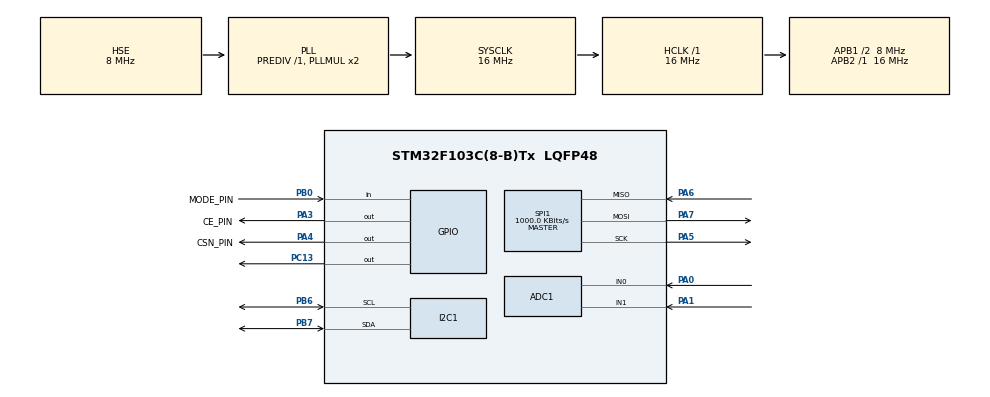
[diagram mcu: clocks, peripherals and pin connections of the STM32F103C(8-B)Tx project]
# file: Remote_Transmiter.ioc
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ADC1.Channel-0\#ChannelRegularConversion=ADC_CHANNEL_0
ADC1.Channel-1\#ChannelRegularConversion=ADC_CHANNEL_1
ADC1.ContinuousConvMode=ENABLE
ADC1.NbrOfConversion=2
ADC1.NbrOfConversionFlag=1
ADC1.Rank-0\#ChannelRegularConversion=1
ADC1.Rank-1\#ChannelRegularConversion=2
ADC1.SamplingTime-0\#ChannelRegularConversion=ADC_SAMPLETIME_41CYCLES_5
ADC1.SamplingTime-1\#ChannelRegularConversion=ADC_SAMPLETIME_41CYCLES_5
ADC1.master=1
Mcu.Family=STM32F1
Mcu.Name=STM32F103C(8-B)Tx
Mcu.Package=LQFP48
NVIC.PriorityGroup=NVIC_PRIORITYGROUP_4
PA0-WKUP.Signal=ADCx_IN0
PA1.Signal=ADCx_IN1
PA13.Mode=Serial_Wire
PA13.Signal=SYS_JTMS-SWDIO
PA14.Mode=Serial_Wire
PA14.Signal=SYS_JTCK-SWCLK
PA3.GPIO_Label=CE_PIN
PA3.Signal=GPIO_Output
PA4.GPIO_Label=CSN_PIN
PA4.Signal=GPIO_Output
PA5.Mode=Full_Duplex_Master
PA5.Signal=SPI1_SCK
PA6.Mode=Full_Duplex_Master
PA6.Signal=SPI1_MISO
PA7.Mode=Full_Duplex_Master
PA7.Signal=SPI1_MOSI
PB0.GPIO_Label=MODE_PIN
PB0.GPIO_PuPd=GPIO_PULLUP
PB0.Signal=GPIO_Input
PB6.Mode=I2C
PB6.Signal=I2C1_SCL
PB7.Mode=I2C
PB7.Signal=I2C1_SDA
PC13-TAMPER-RTC.Signal=GPIO_Output
PD0-OSC_IN.Mode=HSE-External-Oscillator
PD0-OSC_IN.Signal=RCC_OSC_IN
PD1-OSC_OUT.Mode=HSE-External-Oscillator
PD1-OSC_OUT.Signal=RCC_OSC_OUT
ProjectManager.HeapSize=0x200
ProjectManager.StackSize=0x400
ProjectManager.TargetToolchain=MDK-ARM V5.32
RCC.AHBFreq_Value=16000000
RCC.APB1CLKDivider=RCC_HCLK_DIV2
RCC.APB1Freq_Value=8000000
RCC.APB1TimFreq_Value=16000000
RCC.APB2Freq_Value=16000000
RCC.APB2TimFreq_Value=16000000
RCC.HCLKFreq_Value=16000000
RCC.PLLSourceVirtual=RCC_PLLSOURCE_HSE
RCC.SYSCLKFreq_VALUE=16000000
RCC.SYSCLKSource=RCC_SYSCLKSOURCE_PLLCLK
RCC.USBFreq_Value=16000000
SH.ADCx_IN0.0=ADC1_IN0,IN0
SH.ADCx_IN1.0=ADC1_IN1,IN1
SPI1.BaudRatePrescaler=SPI_BAUDRATEPRESCALER_16
SPI1.CalculateBaudRate=1000.0 KBits/s
SPI1.Direction=SPI_DIRECTION_2LINES
SPI1.Mode=SPI_MODE_MASTER
SPI1.VirtualType=VM_MASTER
board=custom

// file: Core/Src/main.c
/* USER CODE BEGIN Header */
/**
  ******************************************************************************
  * @file           : main.c
  * @brief          : Main program body
  ******************************************************************************
  * @attention
  *
  * Copyright (c) 2023 STMicroelectronics.
  * All rights reserved.
  *
  * This software is licensed under terms that can be found in the LICENSE file
  * in the root directory of this software component.
  * If no LICENSE file comes with this software, it is provided AS-IS.
  *
  ******************************************************************************
  */
/* USER CODE END Header */
#include "main.h"

/* USER CODE BEGIN Includes */
#include "CLCD_I2C.h"
#include "NRF24L01.h"
#include "string.h"
/* USER CODE END Includes */

/* USER CODE BEGIN PD */
#define MAX_LENGTH_DATA 7
/* USER CODE END PD */

ADC_HandleTypeDef hadc1;

I2C_HandleTypeDef hi2c1;

SPI_HandleTypeDef hspi1;

/* USER CODE BEGIN PV */
uint32_t VR[2];

CLCD_I2C_Name Lcd16x2;

uint8_t TX_Address[] = {0xEE, 0xDD, 0xCC, 0xBB, 0xAA};

uint8_t TX_Data[MAX_LENGTH_DATA];

uint8_t Mode = 0;

/* USER CODE END PV */

void SystemClock_Config(void);
static void MX_GPIO_Init(void);
static void MX_SPI1_Init(void);
static void MX_ADC1_Init(void);
static void MX_I2C1_Init(void);

/* USER CODE BEGIN 0 */

// =========================== FOR SET UP ADC =============================

void ADC_Select_Channel_0(void)
{
	ADC_ChannelConfTypeDef sConfig = {0};

  sConfig.Channel = ADC_CHANNEL_0;
  sConfig.Rank = ADC_REGULAR_RANK_1;
  sConfig.SamplingTime = ADC_SAMPLETIME_41CYCLES_5;
  if (HAL_ADC_ConfigChannel(&hadc1, &sConfig) != HAL_OK)
  {
    Error_Handler();
  }
}

void ADC_Select_Channel_1(void)
{
	ADC_ChannelConfTypeDef sConfig = {0};

	sConfig.Channel = ADC_CHANNEL_1;
  sConfig.Rank = ADC_REGULAR_RANK_1;
  if (HAL_ADC_ConfigChannel(&hadc1, &sConfig) != HAL_OK)
  {
    Error_Handler();
  }
}
// ====================== FOR PRINTING VALUES =============================

void PrintStateToLCD(char state)
{
	CLCD_I2C_SetCursor(&Lcd16x2, 0, 1);
	CLCD_I2C_WriteString(&Lcd16x2, "     ");
	CLCD_I2C_SetCursor(&Lcd16x2, 0, 1);

	if (state == 'L') CLCD_I2C_WriteString(&Lcd16x2, "LEFT");
	else if (state == 'R') CLCD_I2C_WriteString(&Lcd16x2, "RIGHT");
	else if (state == 'U') CLCD_I2C_WriteString(&Lcd16x2, "UP");
	else if (state == 'B') CLCD_I2C_WriteString(&Lcd16x2, "BACK");
}

// ===================== FOR READING JOYSTICK =============================

void SendModeCommand(uint8_t * command)
{
	memset(TX_Data, 0, MAX_LENGTH_DATA);
	strcpy(TX_Data, command);
	if (NRF24_Transmit(TX_Data) == 1)
	{
		HAL_GPIO_TogglePin(GPIOC, GPIO_PIN_13);
	}
}

void ReadJoyStick()
{
		ADC_Select_Channel_0();
		HAL_ADC_Start(&hadc1);
		HAL_ADC_PollForConversion(&hadc1, 1);
		VR[0] = HAL_ADC_GetValue(&hadc1);
		HAL_ADC_Stop(&hadc1);

		ADC_Select_Channel_1();
		HAL_ADC_Start(&hadc1);
		HAL_ADC_PollForConversion(&hadc1, 1);
		VR[1] = HAL_ADC_GetValue(&hadc1);
		HAL_ADC_Stop(&hadc1);
}

void ReadButtonJoyStick()
{
	if (HAL_GPIO_ReadPin(GPIOB, MODE_PIN_Pin) == 0)
	{
		HAL_Delay(10);
		if (HAL_GPIO_ReadPin(GPIOB, MODE_PIN_Pin) == 0)
		{
			Mode = (Mode + 1) % 2;
			Mode == 1 ? SendModeCommand("M1") : SendModeCommand("M0");
			while (HAL_GPIO_ReadPin(GPIOB, MODE_PIN_Pin) == 0) {HAL_Delay(10);}
		}
	}
}

//===================== FOR HANDLING ADC VALUES =============================

void ConvertADCValue(char *command, uint32_t ADCValue)
{
	TX_Data[0] = command[0];
	TX_Data[1] = command[1];

	TX_Data[2] = ADCValue / 1000 + 0x30;
	TX_Data[3] = ADCValue % 1000 / 100 + 0x30;
	TX_Data[4] = ADCValue % 100 / 10 + 0x30;
	TX_Data[5] = ADCValue % 10 + 0x30;
	TX_Data[6] = '\0';
}

void SendADCValueToReceiver()
{
	if (NRF24_Transmit(TX_Data) == 1)
	{
		HAL_GPIO_TogglePin(GPIOC, GPIO_PIN_13);
	}
}

void HandleADCValues()
{
	if (VR[0] > 2500 || VR[0] < 1500) // X axis
	{
		if (VR[0] > 2500)
		{
			ConvertADCValue("U0", VR[0]);
			SendADCValueToReceiver();
			PrintStateToLCD(TX_Data[0]);
		}
		else
		{
			ConvertADCValue("B0", VR[0]);
			SendADCValueToReceiver();
			PrintStateToLCD(TX_Data[0]);
		}
	}
	if (VR[1] > 2500 || VR[1] < 1500) // Y axis
	{
		if (VR[1] > 2500)
		{
			ConvertADCValue("R0", VR[1]);
			SendADCValueToReceiver();
			PrintStateToLCD(TX_Data[0]);
		}
		else
		{
			ConvertADCValue("L0", VR[1]);
			SendADCValueToReceiver();
			PrintStateToLCD(TX_Data[0]);
		}
	}
}

// ========================= FOR MODE OPERATIONS ============================

void RemoteMode0()
{
	while (Mode == 0)
	{
		ReadButtonJoyStick();
		ReadJoyStick();
		HandleADCValues();
		HAL_Delay(60);
	}
}

void RemoteMode1()
{
	while (Mode == 1)
	{
		ReadButtonJoyStick();
		HAL_Delay(60);
	}
}

// ============================ MAIN MONITOR ================================

void mainMonitor()
{
	if (Mode == 0)
	{
		CLCD_I2C_Clear(&Lcd16x2);
		CLCD_I2C_WriteString(&Lcd16x2, "Mode 0:Joystick");
		RemoteMode0();
	}
	else
	{
		CLCD_I2C_Clear(&Lcd16x2);
		CLCD_I2C_WriteString(&Lcd16x2, "Mode 1:Auto Run");
		RemoteMode1();
	}
}

/* USER CODE END 0 */

int main(void)
{

  /* MCU Configuration--------------------------------------------------------*/

  /* Reset of all peripherals, Initializes the Flash interface and the Systick. */
  HAL_Init();

  /* Configure the system clock */
  SystemClock_Config();

  /* Initialize all configured peripherals */
  MX_GPIO_Init();
  MX_SPI1_Init();
  MX_ADC1_Init();
  MX_I2C1_Init();
  /* USER CODE BEGIN 2 */
	NRF24_Init();
	NRF24_TxMode(TX_Address, 10);
	CLCD_I2C_Init(&Lcd16x2, &hi2c1, 0x4e, 16, 2);
  /* USER CODE END 2 */

  /* Infinite loop */
  /* USER CODE BEGIN WHILE */
  while (1)
  {
		mainMonitor();
    /* USER CODE END WHILE */

  }
}

void SystemClock_Config(void)
{
  RCC_OscInitTypeDef RCC_OscInitStruct = {0};
  RCC_ClkInitTypeDef RCC_ClkInitStruct = {0};
  RCC_PeriphCLKInitTypeDef PeriphClkInit = {0};

  /** Initializes the RCC Oscillators according to the specified parameters
  * in the RCC_OscInitTypeDef structure.
  */
  RCC_OscInitStruct.OscillatorType = RCC_OSCILLATORTYPE_HSE;
  RCC_OscInitStruct.HSEState = RCC_HSE_ON;
  RCC_OscInitStruct.HSEPredivValue = RCC_HSE_PREDIV_DIV1;
  RCC_OscInitStruct.HSIState = RCC_HSI_ON;
  RCC_OscInitStruct.PLL.PLLState = RCC_PLL_ON;
  RCC_OscInitStruct.PLL.PLLSource = RCC_PLLSOURCE_HSE;
  RCC_OscInitStruct.PLL.PLLMUL = RCC_PLL_MUL2;
  if (HAL_RCC_OscConfig(&RCC_OscInitStruct) != HAL_OK)
  {
    Error_Handler();
  }

  /** Initializes the CPU, AHB and APB buses clocks
  */
  RCC_ClkInitStruct.ClockType = RCC_CLOCKTYPE_HCLK|RCC_CLOCKTYPE_SYSCLK
                              |RCC_CLOCKTYPE_PCLK1|RCC_CLOCKTYPE_PCLK2;
  RCC_ClkInitStruct.SYSCLKSource = RCC_SYSCLKSOURCE_PLLCLK;
  RCC_ClkInitStruct.AHBCLKDivider = RCC_SYSCLK_DIV1;
  RCC_ClkInitStruct.APB1CLKDivider = RCC_HCLK_DIV2;
  RCC_ClkInitStruct.APB2CLKDivider = RCC_HCLK_DIV1;

  if (HAL_RCC_ClockConfig(&RCC_ClkInitStruct, FLASH_LATENCY_0) != HAL_OK)
  {
    Error_Handler();
  }
  PeriphClkInit.PeriphClockSelection = RCC_PERIPHCLK_ADC;
  PeriphClkInit.AdcClockSelection = RCC_ADCPCLK2_DIV2;
  if (HAL_RCCEx_PeriphCLKConfig(&PeriphClkInit) != HAL_OK)
  {
    Error_Handler();
  }
}

static void MX_ADC1_Init(void)
{

  ADC_ChannelConfTypeDef sConfig = {0};

  /** Common config
  */
  hadc1.Instance = ADC1;
  hadc1.Init.ScanConvMode = ADC_SCAN_ENABLE;
  hadc1.Init.ContinuousConvMode = ENABLE;
  hadc1.Init.DiscontinuousConvMode = DISABLE;
  hadc1.Init.ExternalTrigConv = ADC_SOFTWARE_START;
  hadc1.Init.DataAlign = ADC_DATAALIGN_RIGHT;
  hadc1.Init.NbrOfConversion = 1;
  if (HAL_ADC_Init(&hadc1) != HAL_OK)
  {
    Error_Handler();
  }

}

static void MX_I2C1_Init(void)
{

  hi2c1.Instance = I2C1;
  hi2c1.Init.ClockSpeed = 100000;
  hi2c1.Init.DutyCycle = I2C_DUTYCYCLE_2;
  hi2c1.Init.OwnAddress1 = 0;
  hi2c1.Init.AddressingMode = I2C_ADDRESSINGMODE_7BIT;
  hi2c1.Init.DualAddressMode = I2C_DUALADDRESS_DISABLE;
  hi2c1.Init.OwnAddress2 = 0;
  hi2c1.Init.GeneralCallMode = I2C_GENERALCALL_DISABLE;
  hi2c1.Init.NoStretchMode = I2C_NOSTRETCH_DISABLE;
  if (HAL_I2C_Init(&hi2c1) != HAL_OK)
  {
    Error_Handler();
  }

}

static void MX_SPI1_Init(void)
{

  /* SPI1 parameter configuration*/
  hspi1.Instance = SPI1;
  hspi1.Init.Mode = SPI_MODE_MASTER;
  hspi1.Init.Direction = SPI_DIRECTION_2LINES;
  hspi1.Init.DataSize = SPI_DATASIZE_8BIT;
  hspi1.Init.CLKPolarity = SPI_POLARITY_LOW;
  hspi1.Init.CLKPhase = SPI_PHASE_1EDGE;
  hspi1.Init.NSS = SPI_NSS_SOFT;
  hspi1.Init.BaudRatePrescaler = SPI_BAUDRATEPRESCALER_16;
  hspi1.Init.FirstBit = SPI_FIRSTBIT_MSB;
  hspi1.Init.TIMode = SPI_TIMODE_DISABLE;
  hspi1.Init.CRCCalculation = SPI_CRCCALCULATION_DISABLE;
  hspi1.Init.CRCPolynomial = 10;
  if (HAL_SPI_Init(&hspi1) != HAL_OK)
  {
    Error_Handler();
  }

}

static void MX_GPIO_Init(void)
{
  GPIO_InitTypeDef GPIO_InitStruct = {0};

  /* GPIO Ports Clock Enable */
  __HAL_RCC_GPIOC_CLK_ENABLE();
  __HAL_RCC_GPIOD_CLK_ENABLE();
  __HAL_RCC_GPIOA_CLK_ENABLE();
  __HAL_RCC_GPIOB_CLK_ENABLE();

  /*Configure GPIO pin Output Level */
  HAL_GPIO_WritePin(GPIOC, GPIO_PIN_13, GPIO_PIN_RESET);

  /*Configure GPIO pin Output Level */
  HAL_GPIO_WritePin(GPIOA, CE_PIN_Pin|CSN_PIN_Pin, GPIO_PIN_RESET);

  /*Configure GPIO pin : PC13 */
  GPIO_InitStruct.Pin = GPIO_PIN_13;
  GPIO_InitStruct.Mode = GPIO_MODE_OUTPUT_PP;
  GPIO_InitStruct.Pull = GPIO_NOPULL;
  GPIO_InitStruct.Speed = GPIO_SPEED_FREQ_LOW;
  HAL_GPIO_Init(GPIOC, &GPIO_InitStruct);

  /*Configure GPIO pins : CE_PIN_Pin CSN_PIN_Pin */
  GPIO_InitStruct.Pin = CE_PIN_Pin|CSN_PIN_Pin;
  GPIO_InitStruct.Mode = GPIO_MODE_OUTPUT_PP;
  GPIO_InitStruct.Pull = GPIO_NOPULL;
  GPIO_InitStruct.Speed = GPIO_SPEED_FREQ_LOW;
  HAL_GPIO_Init(GPIOA, &GPIO_InitStruct);

  /*Configure GPIO pin : MODE_PIN_Pin */
  GPIO_InitStruct.Pin = MODE_PIN_Pin;
  GPIO_InitStruct.Mode = GPIO_MODE_INPUT;
  GPIO_InitStruct.Pull = GPIO_PULLUP;
  HAL_GPIO_Init(MODE_PIN_GPIO_Port, &GPIO_InitStruct);

}

void Error_Handler(void)
{
  __disable_irq();
  while (1)
  {
  }
}
